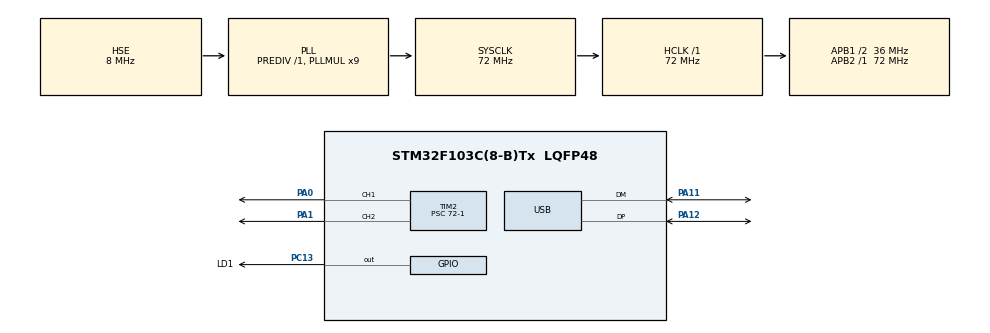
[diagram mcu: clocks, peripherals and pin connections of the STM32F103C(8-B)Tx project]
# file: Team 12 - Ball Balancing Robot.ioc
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Mcu.Family=STM32F1
Mcu.Name=STM32F103C(8-B)Tx
Mcu.Package=LQFP48
NVIC.PriorityGroup=NVIC_PRIORITYGROUP_4
NVIC.USB_HP_CAN1_TX_IRQn=true\:0\:0\:false\:false\:true\:true\:true\:true
NVIC.USB_LP_CAN1_RX0_IRQn=true\:0\:0\:false\:false\:true\:false\:true\:true
PA0-WKUP.Signal=S_TIM2_CH1_ETR
PA1.Signal=S_TIM2_CH2
PA11.Mode=Device
PA11.Signal=USB_DM
PA12.Mode=Device
PA12.Signal=USB_DP
PA13.Mode=Serial_Wire
PA13.Signal=SYS_JTMS-SWDIO
PA14.Mode=Serial_Wire
PA14.Signal=SYS_JTCK-SWCLK
PC13-TAMPER-RTC.GPIO_Label=LD1
PC13-TAMPER-RTC.Signal=GPIO_Output
PD0-OSC_IN.Mode=HSE-External-Oscillator
PD0-OSC_IN.Signal=RCC_OSC_IN
PD1-OSC_OUT.Mode=HSE-External-Oscillator
PD1-OSC_OUT.Signal=RCC_OSC_OUT
ProjectManager.HeapSize=0x200
ProjectManager.StackSize=0x400
ProjectManager.TargetToolchain=STM32CubeIDE
RCC.AHBFreq_Value=72000000
RCC.APB1CLKDivider=RCC_HCLK_DIV2
RCC.APB1Freq_Value=36000000
RCC.APB1TimFreq_Value=72000000
RCC.APB2Freq_Value=72000000
RCC.APB2TimFreq_Value=72000000
RCC.HCLKFreq_Value=72000000
RCC.PLLMUL=RCC_PLL_MUL9
RCC.SYSCLKFreq_VALUE=72000000
RCC.SYSCLKSource=RCC_SYSCLKSOURCE_PLLCLK
RCC.USBFreq_Value=48000000
RCC.USBPrescaler=RCC_USBCLKSOURCE_PLL_DIV1_5
SH.S_TIM2_CH1_ETR.0=TIM2_CH1,PWM Generation1 CH1
SH.S_TIM2_CH2.0=TIM2_CH2,PWM Generation2 CH2
TIM2.AutoReloadPreload=TIM_AUTORELOAD_PRELOAD_DISABLE
TIM2.Channel-PWM\ Generation1\ CH1=TIM_CHANNEL_1
TIM2.Channel-PWM\ Generation2\ CH2=TIM_CHANNEL_2
TIM2.Period=20000-1
TIM2.Prescaler=72-1
USB_DEVICE.CLASS_NAME_FS=CDC
USB_DEVICE.VirtualMode=Cdc
USB_DEVICE.VirtualModeFS=Cdc_FS
VP_TIM2_VS_ClockSourceINT.Mode=Internal
VP_USB_DEVICE_VS_USB_DEVICE_CDC_FS.Mode=CDC_FS
board=custom

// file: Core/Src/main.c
/* USER CODE BEGIN Header */
/**
  ******************************************************************************
  * @file           : main.c
  * @brief          : Main program body
  ******************************************************************************
  * @attention
  *
  * Copyright (c) 2025 STMicroelectronics.
  * All rights reserved.
  *
  * This software is licensed under terms that can be found in the LICENSE file
  * in the root directory of this software component.
  * If no LICENSE file comes with this software, it is provided AS-IS.
  *
  ******************************************************************************
  */
/* USER CODE END Header */
#include "main.h"
#include "usb_device.h"

/* USER CODE BEGIN Includes */
#include "usbd_cdc_if.h"
#include "string.h"
/* USER CODE END Includes */

/* USER CODE BEGIN PTD */

typedef struct {
	/* Real Coordinates */
	int px;
	int py;

	/* Desired Coordinates */
	int dx;
	int dy;

	/* flag */
	int valid;

} sensorData;

typedef struct {

  /* Controller gains */
  float Kp, Ki, Kd;

  /* Controller Variables */
  float integrator;
  float prevError;

  /* Sample time (in seconds) */
  float T;

  /* Controller output */
  float controlSignal;

} PIDController;

/* USER CODE END PTD */

/* USER CODE BEGIN PD */
#define USB_BUFLEN 128
#define SAMPLING_PERIOD 0.04f // 25 Hz
#define KP 10.0f
#define KI  0.0f
#define KD  14.0f
/* USER CODE END PD */

TIM_HandleTypeDef htim2;

/* USER CODE BEGIN PV */
uint8_t usbTxBuf[USB_BUFLEN];
uint16_t usbTxBufLen;

uint8_t usbRxBuf[USB_BUFLEN];
uint16_t usbRxBufLen;
uint8_t usbRxFlag = 0;

unsigned long loopTimerMS;

PIDController rollController;  // X - Coordinate
PIDController pitchController; // Y - Coordinate
/* USER CODE END PV */

void SystemClock_Config(void);
static void MX_GPIO_Init(void);
static void MX_TIM2_Init(void);

/* USER CODE BEGIN 0 */
void USB_RXCallBack(uint8_t* Buf, uint32_t *Len) {

	memcpy(usbRxBuf, Buf, *Len);
	usbRxBufLen = *Len;
	usbRxFlag = 1;

}
sensorData Camera_ReadData(void) {

	sensorData data = { 0, 0, 0, 0, 0 };

	if (usbRxFlag && usbRxBufLen) {

		/* Extract Data */
		sscanf((char *)usbRxBuf, "%d,%d", &data.px, &data.py);

		/* Debug Echo */
		usbTxBufLen = snprintf((char *) usbTxBuf, USB_BUFLEN, "%d,%d\r\n", data.px, data.py);
	    CDC_Transmit_FS(usbTxBuf, usbTxBufLen);

	    /* Visual Debug */
	    HAL_GPIO_TogglePin(LD1_GPIO_Port, LD1_Pin);

	    /* Flag Reset */
		usbRxFlag = 0;
		usbRxBufLen = 0;

		data.valid = 1;

	}

	return data;
}
void PID_Init(PIDController *pid, float Kp, float Ki, float Kd, float dt) {

  /* Set the Gains */
  pid->Kp = Kp;
  pid->Ki = Ki;
  pid->Kd = Kd;

  /* Set the Sampling Period */
  pid->T = dt;

  /* Clear controller variables */
  pid->integrator = 0.0f;
  pid->prevError  = 0.0f;
  pid->controlSignal = 0.0f;
}
void PID_Update(PIDController *pid, float error) {

  /* Proportional */
  float proportional = pid->Kp * error;

  /* Integral */
  pid->integrator += pid->Ki * (error + pid->prevError) * pid->T / 2.0f;

  /* Derivative */
  float differentiator = pid->Kd * (error - pid->prevError) / pid->T;

  /* Compute output */
  pid->controlSignal = proportional + pid->integrator + differentiator;

  /* Store error for later use */
  pid->prevError = error;

}

/* USER CODE END 0 */

int main(void)
{

  /* USER CODE BEGIN 1 */
	// Initialize The Controllers
	PID_Init(&rollController, KP, KI, KD, SAMPLING_PERIOD);
	PID_Init(&pitchController, KP, KI, KD, SAMPLING_PERIOD);

  /* USER CODE END 1 */

  /* MCU Configuration--------------------------------------------------------*/

  /* Reset of all peripherals, Initializes the Flash interface and the Systick. */
  HAL_Init();

  /* Configure the system clock */
  SystemClock_Config();

  /* Initialize all configured peripherals */
  MX_GPIO_Init();
  MX_USB_DEVICE_Init();
  MX_TIM2_Init();
  /* USER CODE BEGIN 2 */
  HAL_TIM_PWM_Start(&htim2, TIM_CHANNEL_2);
  HAL_TIM_PWM_Start(&htim2, TIM_CHANNEL_1);
  loopTimerMS = HAL_GetTick();
  /* USER CODE END 2 */

  /* Infinite loop */
  while (1)
  {

    /* USER CODE BEGIN 3 */

	  // Feedback
	  sensorData position = Camera_ReadData();

	  _Bool isPeriodElapsed = (HAL_GetTick() - loopTimerMS) >= (SAMPLING_PERIOD * 1000.0f);

	  // Controller
	  if (position.valid && isPeriodElapsed) {
		  PID_Update(&rollController, (float)(position.dx - position.px));
		  PID_Update(&pitchController, (float)(position.dy - position.py));

		  loopTimerMS += (unsigned long)(SAMPLING_PERIOD * 1000.0f);
	  }

	  // Actuator [ 450(min), 550(0deg), 2465(180deg), 2600(max) ]

	  if      (rollController.controlSignal >=  550) rollController.controlSignal =  550;
	  else if (rollController.controlSignal <= -950) rollController.controlSignal = -950;

	  if      (pitchController.controlSignal >=  350) pitchController.controlSignal =  350;
	  else if (pitchController.controlSignal <= -1100) pitchController.controlSignal = -1100;

	  TIM2->CCR2 = 1515 + (int)rollController.controlSignal;  // 1450 [500,1900]
	  TIM2->CCR1 = 1420 - (int)pitchController.controlSignal; // 1300 [950, 2400]

  }
  /* USER CODE END 3 */
}

void SystemClock_Config(void)
{
  RCC_OscInitTypeDef RCC_OscInitStruct = {0};
  RCC_ClkInitTypeDef RCC_ClkInitStruct = {0};
  RCC_PeriphCLKInitTypeDef PeriphClkInit = {0};

  /** Initializes the RCC Oscillators according to the specified parameters
  * in the RCC_OscInitTypeDef structure.
  */
  RCC_OscInitStruct.OscillatorType = RCC_OSCILLATORTYPE_HSE;
  RCC_OscInitStruct.HSEState = RCC_HSE_ON;
  RCC_OscInitStruct.HSEPredivValue = RCC_HSE_PREDIV_DIV1;
  RCC_OscInitStruct.HSIState = RCC_HSI_ON;
  RCC_OscInitStruct.PLL.PLLState = RCC_PLL_ON;
  RCC_OscInitStruct.PLL.PLLSource = RCC_PLLSOURCE_HSE;
  RCC_OscInitStruct.PLL.PLLMUL = RCC_PLL_MUL9;
  if (HAL_RCC_OscConfig(&RCC_OscInitStruct) != HAL_OK)
  {
    Error_Handler();
  }

  /** Initializes the CPU, AHB and APB buses clocks
  */
  RCC_ClkInitStruct.ClockType = RCC_CLOCKTYPE_HCLK|RCC_CLOCKTYPE_SYSCLK
                              |RCC_CLOCKTYPE_PCLK1|RCC_CLOCKTYPE_PCLK2;
  RCC_ClkInitStruct.SYSCLKSource = RCC_SYSCLKSOURCE_PLLCLK;
  RCC_ClkInitStruct.AHBCLKDivider = RCC_SYSCLK_DIV1;
  RCC_ClkInitStruct.APB1CLKDivider = RCC_HCLK_DIV2;
  RCC_ClkInitStruct.APB2CLKDivider = RCC_HCLK_DIV1;

  if (HAL_RCC_ClockConfig(&RCC_ClkInitStruct, FLASH_LATENCY_2) != HAL_OK)
  {
    Error_Handler();
  }
  PeriphClkInit.PeriphClockSelection = RCC_PERIPHCLK_USB;
  PeriphClkInit.UsbClockSelection = RCC_USBCLKSOURCE_PLL_DIV1_5;
  if (HAL_RCCEx_PeriphCLKConfig(&PeriphClkInit) != HAL_OK)
  {
    Error_Handler();
  }
}

static void MX_TIM2_Init(void)
{

  TIM_ClockConfigTypeDef sClockSourceConfig = {0};
  TIM_MasterConfigTypeDef sMasterConfig = {0};
  TIM_OC_InitTypeDef sConfigOC = {0};

  htim2.Instance = TIM2;
  htim2.Init.Prescaler = 72-1;
  htim2.Init.CounterMode = TIM_COUNTERMODE_UP;
  htim2.Init.Period = 20000-1;
  htim2.Init.ClockDivision = TIM_CLOCKDIVISION_DIV1;
  htim2.Init.AutoReloadPreload = TIM_AUTORELOAD_PRELOAD_DISABLE;
  if (HAL_TIM_Base_Init(&htim2) != HAL_OK)
  {
    Error_Handler();
  }
  sClockSourceConfig.ClockSource = TIM_CLOCKSOURCE_INTERNAL;
  if (HAL_TIM_ConfigClockSource(&htim2, &sClockSourceConfig) != HAL_OK)
  {
    Error_Handler();
  }
  if (HAL_TIM_PWM_Init(&htim2) != HAL_OK)
  {
    Error_Handler();
  }
  sMasterConfig.MasterOutputTrigger = TIM_TRGO_RESET;
  sMasterConfig.MasterSlaveMode = TIM_MASTERSLAVEMODE_DISABLE;
  if (HAL_TIMEx_MasterConfigSynchronization(&htim2, &sMasterConfig) != HAL_OK)
  {
    Error_Handler();
  }
  sConfigOC.OCMode = TIM_OCMODE_PWM1;
  sConfigOC.Pulse = 0;
  sConfigOC.OCPolarity = TIM_OCPOLARITY_HIGH;
  sConfigOC.OCFastMode = TIM_OCFAST_DISABLE;
  if (HAL_TIM_PWM_ConfigChannel(&htim2, &sConfigOC, TIM_CHANNEL_1) != HAL_OK)
  {
    Error_Handler();
  }
  if (HAL_TIM_PWM_ConfigChannel(&htim2, &sConfigOC, TIM_CHANNEL_2) != HAL_OK)
  {
    Error_Handler();
  }
  HAL_TIM_MspPostInit(&htim2);

}

static void MX_GPIO_Init(void)
{
  GPIO_InitTypeDef GPIO_InitStruct = {0};

  /* GPIO Ports Clock Enable */
  __HAL_RCC_GPIOC_CLK_ENABLE();
  __HAL_RCC_GPIOD_CLK_ENABLE();
  __HAL_RCC_GPIOA_CLK_ENABLE();

  /*Configure GPIO pin Output Level */
  HAL_GPIO_WritePin(LD1_GPIO_Port, LD1_Pin, GPIO_PIN_RESET);

  /*Configure GPIO pin : LD1_Pin */
  GPIO_InitStruct.Pin = LD1_Pin;
  GPIO_InitStruct.Mode = GPIO_MODE_OUTPUT_PP;
  GPIO_InitStruct.Pull = GPIO_NOPULL;
  GPIO_InitStruct.Speed = GPIO_SPEED_FREQ_LOW;
  HAL_GPIO_Init(LD1_GPIO_Port, &GPIO_InitStruct);

}

void Error_Handler(void)
{
  __disable_irq();
  while (1)
  {
  }
}
